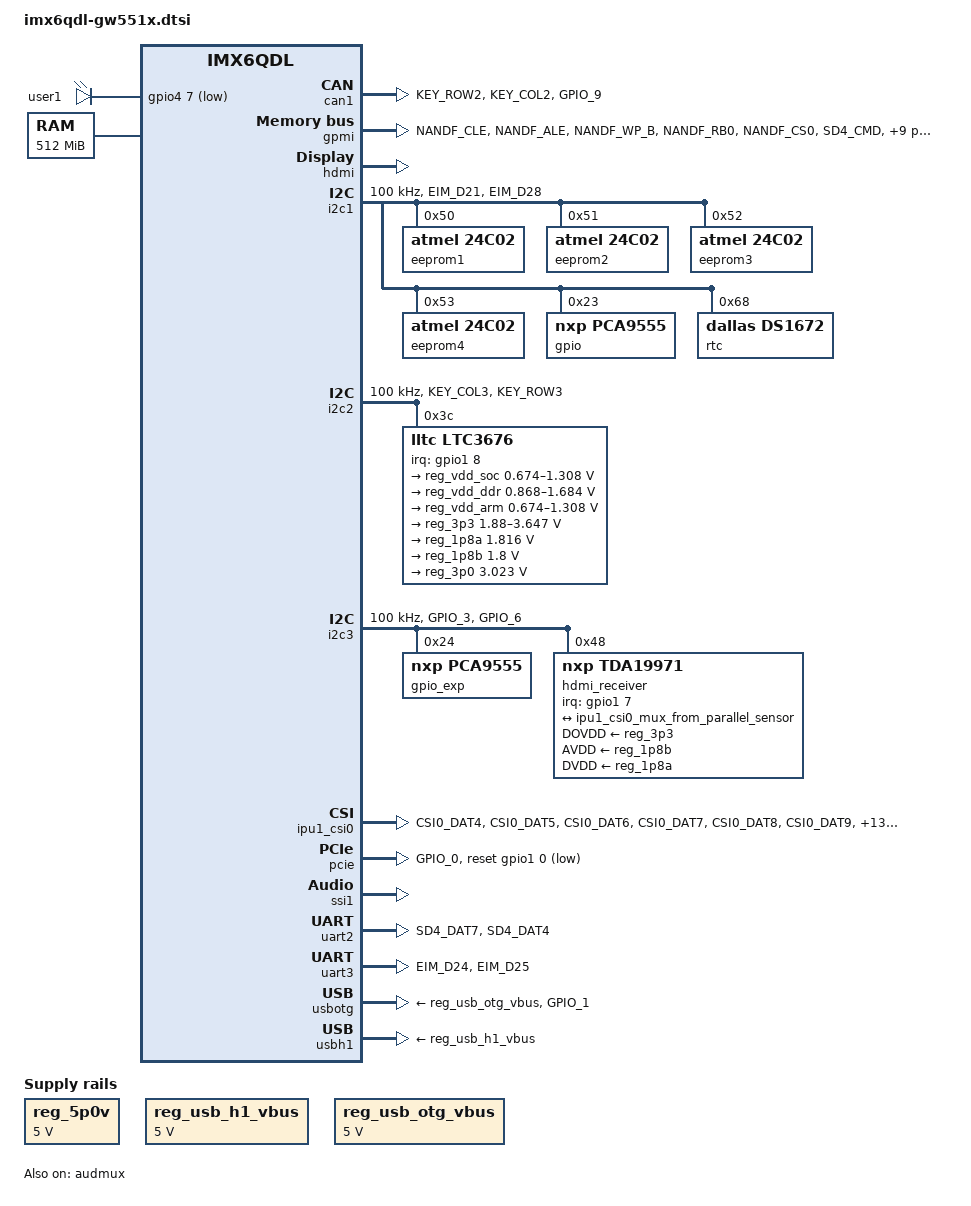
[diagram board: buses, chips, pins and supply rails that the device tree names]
/*
 * Copyright 2014 Gateworks Corporation
 *
 * This file is dual-licensed: you can use it either under the terms
 * of the GPL or the X11 license, at your option. Note that this dual
 * licensing only applies to this file, and not this project as a
 * whole.
 *
 *  a) This file is free software; you can redistribute it and/or
 *     modify it under the terms of the GNU General Public License as
 *     published by the Free Software Foundation; either version 2 of
 *     the License, or (at your option) any later version.
 *
 *     This file is distributed in the hope that it will be useful,
 *     but WITHOUT ANY WARRANTY; without even the implied warranty of
 *     MERCHANTABILITY or FITNESS FOR A PARTICULAR PURPOSE.  See the
 *     GNU General Public License for more details.
 *
 *     You should have received a copy of the GNU General Public
 *     License along with this file; if not, write to the Free
 *     Software Foundation, Inc., 51 Franklin St, Fifth Floor, Boston,
 *     MA 02110-1301 USA
 *
 * Or, alternatively,
 *
 *  b) Permission is hereby granted, free of charge, to any person
 *     obtaining a copy of this software and associated documentation
 *     files (the "Software"), to deal in the Software without
 *     restriction, including without limitation the rights to use,
 *     copy, modify, merge, publish, distribute, sublicense, and/or
 *     sell copies of the Software, and to permit persons to whom the
 *     Software is furnished to do so, subject to the following
 *     conditions:
 *
 *     The above copyright notice and this permission notice shall be
 *     included in all copies or substantial portions of the Software.
 *
 *     THE SOFTWARE IS PROVIDED "AS IS", WITHOUT WARRANTY OF ANY KIND,
 *     EXPRESS OR IMPLIED, INCLUDING BUT NOT LIMITED TO THE WARRANTIES
 *     OF MERCHANTABILITY, FITNESS FOR A PARTICULAR PURPOSE AND
 *     NONINFRINGEMENT. IN NO EVENT SHALL THE AUTHORS OR COPYRIGHT
 *     HOLDERS BE LIABLE FOR ANY CLAIM, DAMAGES OR OTHER LIABILITY,
 *     WHETHER IN AN ACTION OF CONTRACT, TORT OR OTHERWISE, ARISING
 *     FROM, OUT OF OR IN CONNECTION WITH THE SOFTWARE OR THE USE OR
 *     OTHER DEALINGS IN THE SOFTWARE.
 */

#include <dt-bindings/gpio/gpio.h>
#include <dt-bindings/media/tda1997x.h>
#include <dt-bindings/sound/fsl-imx-audmux.h>

/ {
	/* these are used by bootloader for disabling nodes */
	aliases {
		led0 = &led0;
		nand = &gpmi;
		ssi0 = &ssi1;
		usb0 = &usbh1;
		usb1 = &usbotg;
	};

	chosen {
		bootargs = "console=ttymxc1,115200";
	};

	leds {
		compatible = "gpio-leds";
		pinctrl-names = "default";
		pinctrl-0 = <&pinctrl_gpio_leds>;

		led0: user1 {
			label = "user1";
			gpios = <&gpio4 7 GPIO_ACTIVE_LOW>;
			default-state = "on";
			linux,default-trigger = "heartbeat";
		};
	};

	memory@10000000 {
		device_type = "memory";
		reg = <0x10000000 0x20000000>;
	};

	reg_5p0v: regulator-5p0v {
		compatible = "regulator-fixed";
		regulator-name = "5P0V";
		regulator-min-microvolt = <5000000>;
		regulator-max-microvolt = <5000000>;
	};

	reg_usb_h1_vbus: regulator-usb-h1-vbus {
		compatible = "regulator-fixed";
		regulator-name = "usb_h1_vbus";
		regulator-min-microvolt = <5000000>;
		regulator-max-microvolt = <5000000>;
	};

	reg_usb_otg_vbus: regulator-usb-otg-vbus {
		compatible = "regulator-fixed";
		regulator-name = "usb_otg_vbus";
		regulator-min-microvolt = <5000000>;
		regulator-max-microvolt = <5000000>;
	};

	sound-digital {
		compatible = "simple-audio-card";
		simple-audio-card,name = "tda1997x-audio";
		simple-audio-card,format = "i2s";
		simple-audio-card,bitclock-master = <&sound_codec>;
		simple-audio-card,frame-master = <&sound_codec>;

		sound_cpu: simple-audio-card,cpu {
			sound-dai = <&ssi2>;
		};

		sound_codec: simple-audio-card,codec {
			sound-dai = <&hdmi_receiver>;
		};
	};
};

&audmux {
	pinctrl-names = "default";
	pinctrl-0 = <&pinctrl_audmux>; /* AUD5<->tda1997x */
	status = "okay";

	ssi1 {
		fsl,audmux-port = <0>;
		fsl,port-config = <
			(IMX_AUDMUX_V2_PTCR_TFSDIR |
			IMX_AUDMUX_V2_PTCR_TFSEL(4+8) | /* RXFS */
			IMX_AUDMUX_V2_PTCR_TCLKDIR |
			IMX_AUDMUX_V2_PTCR_TCSEL(4+8) | /* RXC */
			IMX_AUDMUX_V2_PTCR_SYN)
			IMX_AUDMUX_V2_PDCR_RXDSEL(4)
		>;
	};

	aud5 {
		fsl,audmux-port = <4>;
		fsl,port-config = <
			IMX_AUDMUX_V2_PTCR_SYN
			IMX_AUDMUX_V2_PDCR_RXDSEL(0)>;
	};
};

&can1 {
	pinctrl-names = "default";
	pinctrl-0 = <&pinctrl_flexcan1>;
	status = "okay";
};

&gpmi {
	pinctrl-names = "default";
	pinctrl-0 = <&pinctrl_gpmi_nand>;
	status = "okay";
};

&hdmi {
	ddc-i2c-bus = <&i2c3>;
	status = "okay";
};

&i2c1 {
	clock-frequency = <100000>;
	pinctrl-names = "default";
	pinctrl-0 = <&pinctrl_i2c1>;
	status = "okay";

	eeprom1: eeprom@50 {
		compatible = "atmel,24c02";
		reg = <0x50>;
		pagesize = <16>;
	};

	eeprom2: eeprom@51 {
		compatible = "atmel,24c02";
		reg = <0x51>;
		pagesize = <16>;
	};

	eeprom3: eeprom@52 {
		compatible = "atmel,24c02";
		reg = <0x52>;
		pagesize = <16>;
	};

	eeprom4: eeprom@53 {
		compatible = "atmel,24c02";
		reg = <0x53>;
		pagesize = <16>;
	};

	gpio: pca9555@23 {
		compatible = "nxp,pca9555";
		reg = <0x23>;
		gpio-controller;
		#gpio-cells = <2>;
	};

	rtc: ds1672@68 {
		compatible = "dallas,ds1672";
		reg = <0x68>;
	};
};

&i2c2 {
	clock-frequency = <100000>;
	pinctrl-names = "default";
	pinctrl-0 = <&pinctrl_i2c2>;
	status = "okay";

	ltc3676: pmic@3c {
		compatible = "lltc,ltc3676";
		reg = <0x3c>;
		pinctrl-names = "default";
		pinctrl-0 = <&pinctrl_pmic>;
		interrupt-parent = <&gpio1>;
		interrupts = <8 IRQ_TYPE_EDGE_FALLING>;

		regulators {
			/* VDD_SOC (1+R1/R2 = 1.635) */
			reg_vdd_soc: sw1 {
				regulator-name = "vddsoc";
				regulator-min-microvolt = <674400>;
				regulator-max-microvolt = <1308000>;
				lltc,fb-voltage-divider = <127000 200000>;
				regulator-ramp-delay = <7000>;
				regulator-boot-on;
				regulator-always-on;
			};

			/* VDD_DDR (1+R1/R2 = 2.105) */
			reg_vdd_ddr: sw2 {
				regulator-name = "vddddr";
				regulator-min-microvolt = <868310>;
				regulator-max-microvolt = <1684000>;
				lltc,fb-voltage-divider = <221000 200000>;
				regulator-ramp-delay = <7000>;
				regulator-boot-on;
				regulator-always-on;
			};

			/* VDD_ARM (1+R1/R2 = 1.635) */
			reg_vdd_arm: sw3 {
				regulator-name = "vddarm";
				regulator-min-microvolt = <674400>;
				regulator-max-microvolt = <1308000>;
				lltc,fb-voltage-divider = <127000 200000>;
				regulator-ramp-delay = <7000>;
				regulator-boot-on;
				regulator-always-on;
			};

			/* VDD_3P3 (1+R1/R2 = 1.281) */
			reg_3p3: sw4 {
				regulator-name = "vdd3p3";
				regulator-min-microvolt = <1880000>;
				regulator-max-microvolt = <3647000>;
				lltc,fb-voltage-divider = <200000 56200>;
				regulator-ramp-delay = <7000>;
				regulator-boot-on;
				regulator-always-on;
			};

			/* VDD_1P8a (1+R1/R2 = 2.505): HDMI In core */
			reg_1p8a: ldo2 {
				regulator-name = "vdd1p8a";
				regulator-min-microvolt = <1816125>;
				regulator-max-microvolt = <1816125>;
				lltc,fb-voltage-divider = <301000 200000>;
				regulator-boot-on;
				regulator-always-on;
			};

			/* VDD_1P8b: HDMI In analog */
			reg_1p8b: ldo3 {
				regulator-name = "vdd1p8b";
				regulator-min-microvolt = <1800000>;
				regulator-max-microvolt = <1800000>;
				regulator-boot-on;
			};

			/* VDD_HIGH (1+R1/R2 = 4.17) */
			reg_3p0: ldo4 {
				regulator-name = "vdd3p0";
				regulator-min-microvolt = <3023250>;
				regulator-max-microvolt = <3023250>;
				lltc,fb-voltage-divider = <634000 200000>;
				regulator-boot-on;
				regulator-always-on;
			};
		};
	};
};

&i2c3 {
	clock-frequency = <100000>;
	pinctrl-names = "default";
	pinctrl-0 = <&pinctrl_i2c3>;
	status = "okay";

	gpio_exp: pca9555@24 {
		compatible = "nxp,pca9555";
		reg = <0x24>;
		gpio-controller;
		#gpio-cells = <2>;
	};

	hdmi_receiver: hdmi-receiver@48 {
		compatible = "nxp,tda19971";
		pinctrl-names = "default";
		pinctrl-0 = <&pinctrl_tda1997x>;
		reg = <0x48>;
		interrupt-parent = <&gpio1>;
		interrupts = <7 IRQ_TYPE_LEVEL_LOW>;
		DOVDD-supply = <&reg_3p3>;
		AVDD-supply = <&reg_1p8b>;
		DVDD-supply = <&reg_1p8a>;
		#sound-dai-cells = <0>;
		nxp,audout-format = "i2s";
		nxp,audout-layout = <0>;
		nxp,audout-width = <16>;
		nxp,audout-mclk-fs = <128>;
		/*
		 * The 8bpp YUV422 semi-planar mode outputs CbCr[11:4]
		 * and Y[11:4] across 16bits in the same cycle
		 * which we map to VP[15:08]<->CSI_DATA[19:12]
		 */
		nxp,vidout-portcfg =
			/*G_Y_11_8<->VP[15:12]<->CSI_DATA[19:16]*/
			< TDA1997X_VP24_V15_12 TDA1997X_G_Y_11_8 >,
			/*G_Y_7_4<->VP[11:08]<->CSI_DATA[15:12]*/
			< TDA1997X_VP24_V11_08 TDA1997X_G_Y_7_4 >,
			/*R_CR_CBCR_11_8<->VP[07:04]<->CSI_DATA[11:08]*/
			< TDA1997X_VP24_V07_04 TDA1997X_R_CR_CBCR_11_8 >,
			/*R_CR_CBCR_7_4<->VP[03:00]<->CSI_DATA[07:04]*/
			< TDA1997X_VP24_V03_00 TDA1997X_R_CR_CBCR_7_4 >;

		port {
			tda1997x_to_ipu1_csi0_mux: endpoint {
				remote-endpoint = <&ipu1_csi0_mux_from_parallel_sensor>;
				bus-width = <16>;
				hsync-active = <1>;
				vsync-active = <1>;
				data-active = <1>;
			};
		};
	};
};

&ipu1_csi0_from_ipu1_csi0_mux {
	bus-width = <16>;
};

&ipu1_csi0_mux_from_parallel_sensor {
	remote-endpoint = <&tda1997x_to_ipu1_csi0_mux>;
	bus-width = <16>;
};

&ipu1_csi0 {
	pinctrl-names = "default";
	pinctrl-0 = <&pinctrl_ipu1_csi0>;
};

&pcie {
	pinctrl-names = "default";
	pinctrl-0 = <&pinctrl_pcie>;
	reset-gpio = <&gpio1 0 GPIO_ACTIVE_LOW>;
	status = "okay";
};

&pwm2 {
	pinctrl-names = "default";
	pinctrl-0 = <&pinctrl_pwm2>; /* MX6_DIO1 */
	status = "disabled";
};

&pwm3 {
	pinctrl-names = "default";
	pinctrl-0 = <&pinctrl_pwm3>; /* MX6_DIO2 */
	status = "disabled";
};

&ssi1 {
	status = "okay";
};

&uart2 {
	pinctrl-names = "default";
	pinctrl-0 = <&pinctrl_uart2>;
	status = "okay";
};

&uart3 {
	pinctrl-names = "default";
	pinctrl-0 = <&pinctrl_uart3>;
	status = "okay";
};

&usbotg {
	vbus-supply = <&reg_usb_otg_vbus>;
	pinctrl-names = "default";
	pinctrl-0 = <&pinctrl_usbotg>;
	disable-over-current;
	status = "okay";
};

&usbh1 {
	vbus-supply = <&reg_usb_h1_vbus>;
	status = "okay";
};

&wdog1 {
	pinctrl-names = "default";
	pinctrl-0 = <&pinctrl_wdog>;
	fsl,ext-reset-output;
};

&iomuxc {
	pinctrl_audmux: audmuxgrp {
		fsl,pins = <
			MX6QDL_PAD_DISP0_DAT19__AUD5_RXD	0x130b0
			MX6QDL_PAD_DISP0_DAT14__AUD5_RXC	0x130b0
			MX6QDL_PAD_DISP0_DAT13__AUD5_RXFS	0x130b0
		>;
	};

	pinctrl_flexcan1: flexcan1grp {
		fsl,pins = <
			MX6QDL_PAD_KEY_ROW2__FLEXCAN1_RX	0x1b0b1
			MX6QDL_PAD_KEY_COL2__FLEXCAN1_TX	0x1b0b1
			MX6QDL_PAD_GPIO_9__GPIO1_IO09		0x4001b0b0 /* CAN_STBY */
		>;
	};

	pinctrl_gpio_leds: gpioledsgrp {
		fsl,pins = <
			MX6QDL_PAD_KEY_ROW0__GPIO4_IO07   0x1b0b0
		>;
	};

	pinctrl_gpmi_nand: gpminandgrp {
		fsl,pins = <
			MX6QDL_PAD_NANDF_CLE__NAND_CLE		0xb0b1
			MX6QDL_PAD_NANDF_ALE__NAND_ALE		0xb0b1
			MX6QDL_PAD_NANDF_WP_B__NAND_WP_B	0xb0b1
			MX6QDL_PAD_NANDF_RB0__NAND_READY_B	0xb000
			MX6QDL_PAD_NANDF_CS0__NAND_CE0_B	0xb0b1
			MX6QDL_PAD_SD4_CMD__NAND_RE_B		0xb0b1
			MX6QDL_PAD_SD4_CLK__NAND_WE_B		0xb0b1
			MX6QDL_PAD_NANDF_D0__NAND_DATA00	0xb0b1
			MX6QDL_PAD_NANDF_D1__NAND_DATA01	0xb0b1
			MX6QDL_PAD_NANDF_D2__NAND_DATA02	0xb0b1
			MX6QDL_PAD_NANDF_D3__NAND_DATA03	0xb0b1
			MX6QDL_PAD_NANDF_D4__NAND_DATA04	0xb0b1
			MX6QDL_PAD_NANDF_D5__NAND_DATA05	0xb0b1
			MX6QDL_PAD_NANDF_D6__NAND_DATA06	0xb0b1
			MX6QDL_PAD_NANDF_D7__NAND_DATA07	0xb0b1
		>;
	};

	pinctrl_i2c1: i2c1grp {
		fsl,pins = <
			MX6QDL_PAD_EIM_D21__I2C1_SCL		0x4001b8b1
			MX6QDL_PAD_EIM_D28__I2C1_SDA		0x4001b8b1
		>;
	};

	pinctrl_i2c2: i2c2grp {
		fsl,pins = <
			MX6QDL_PAD_KEY_COL3__I2C2_SCL		0x4001b8b1
			MX6QDL_PAD_KEY_ROW3__I2C2_SDA		0x4001b8b1
		>;
	};

	pinctrl_i2c3: i2c3grp {
		fsl,pins = <
			MX6QDL_PAD_GPIO_3__I2C3_SCL		0x4001b8b1
			MX6QDL_PAD_GPIO_6__I2C3_SDA		0x4001b8b1
		>;
	};

	pinctrl_ipu1_csi0: ipu1_csi0grp {
		fsl,pins = <
			MX6QDL_PAD_CSI0_DAT4__IPU1_CSI0_DATA04		0x1b0b0
			MX6QDL_PAD_CSI0_DAT5__IPU1_CSI0_DATA05		0x1b0b0
			MX6QDL_PAD_CSI0_DAT6__IPU1_CSI0_DATA06		0x1b0b0
			MX6QDL_PAD_CSI0_DAT7__IPU1_CSI0_DATA07		0x1b0b0
			MX6QDL_PAD_CSI0_DAT8__IPU1_CSI0_DATA08		0x1b0b0
			MX6QDL_PAD_CSI0_DAT9__IPU1_CSI0_DATA09		0x1b0b0
			MX6QDL_PAD_CSI0_DAT10__IPU1_CSI0_DATA10		0x1b0b0
			MX6QDL_PAD_CSI0_DAT11__IPU1_CSI0_DATA11		0x1b0b0
			MX6QDL_PAD_CSI0_DAT12__IPU1_CSI0_DATA12		0x1b0b0
			MX6QDL_PAD_CSI0_DAT13__IPU1_CSI0_DATA13		0x1b0b0
			MX6QDL_PAD_CSI0_DAT14__IPU1_CSI0_DATA14		0x1b0b0
			MX6QDL_PAD_CSI0_DAT15__IPU1_CSI0_DATA15		0x1b0b0
			MX6QDL_PAD_CSI0_DAT16__IPU1_CSI0_DATA16		0x1b0b0
			MX6QDL_PAD_CSI0_DAT17__IPU1_CSI0_DATA17		0x1b0b0
			MX6QDL_PAD_CSI0_DAT18__IPU1_CSI0_DATA18		0x1b0b0
			MX6QDL_PAD_CSI0_DAT19__IPU1_CSI0_DATA19		0x1b0b0
			MX6QDL_PAD_CSI0_MCLK__IPU1_CSI0_HSYNC		0x1b0b0
			MX6QDL_PAD_CSI0_PIXCLK__IPU1_CSI0_PIXCLK	0x1b0b0
			MX6QDL_PAD_CSI0_VSYNC__IPU1_CSI0_VSYNC		0x1b0b0
		>;
	};

	pinctrl_pcie: pciegrp {
		fsl,pins = <
			MX6QDL_PAD_GPIO_0__GPIO1_IO00		0x1b0b0 /* PCIE RST */
		>;
	};

	pinctrl_pmic: pmicgrp {
		fsl,pins = <
			MX6QDL_PAD_GPIO_8__GPIO1_IO08		0x0001b0b0 /* PMIC_IRQ# */
		>;
	};

	pinctrl_pwm2: pwm2grp {
		fsl,pins = <
			MX6QDL_PAD_SD1_DAT2__PWM2_OUT		0x1b0b1
		>;
	};

	pinctrl_pwm3: pwm3grp {
		fsl,pins = <
			MX6QDL_PAD_SD1_DAT1__PWM3_OUT		0x1b0b1
		>;
	};

	pinctrl_tda1997x: tda1997xgrp {
		fsl,pins = <
			MX6QDL_PAD_GPIO_7__GPIO1_IO07		0x1b0b0
		>;
	};

	pinctrl_uart2: uart2grp {
		fsl,pins = <
			MX6QDL_PAD_SD4_DAT7__UART2_TX_DATA	0x1b0b1
			MX6QDL_PAD_SD4_DAT4__UART2_RX_DATA	0x1b0b1
		>;
	};

	pinctrl_uart3: uart3grp {
		fsl,pins = <
			MX6QDL_PAD_EIM_D24__UART3_TX_DATA	0x1b0b1
			MX6QDL_PAD_EIM_D25__UART3_RX_DATA	0x1b0b1
		>;
	};

	pinctrl_usbotg: usbotggrp {
		fsl,pins = <
			MX6QDL_PAD_GPIO_1__USB_OTG_ID		0x17059
		>;
	};

	pinctrl_wdog: wdoggrp {
		fsl,pins = <
			MX6QDL_PAD_DISP0_DAT8__WDOG1_B		0x1b0b0
		>;
	};
};
